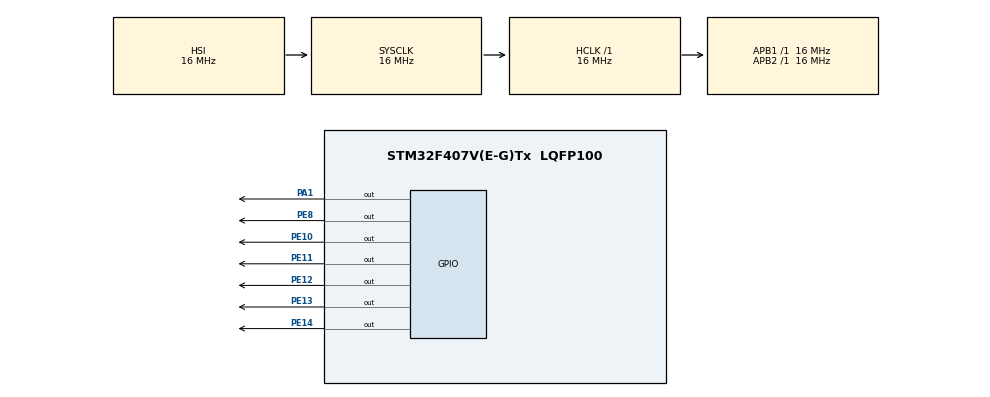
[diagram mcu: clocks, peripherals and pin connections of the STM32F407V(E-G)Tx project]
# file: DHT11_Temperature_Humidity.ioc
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Mcu.Family=STM32F4
Mcu.Name=STM32F407V(E-G)Tx
Mcu.Package=LQFP100
NVIC.PriorityGroup=NVIC_PRIORITYGROUP_4
PA1.Signal=GPIO_Output
PE10.Signal=GPIO_Output
PE11.Signal=GPIO_Output
PE12.Signal=GPIO_Output
PE13.Signal=GPIO_Output
PE14.Signal=GPIO_Output
PE8.Signal=GPIO_Output
ProjectManager.HeapSize=0x200
ProjectManager.StackSize=0x400
ProjectManager.TargetToolchain=STM32CubeIDE
RCC.AHBFreq_Value=16000000
RCC.APB1Freq_Value=16000000
RCC.APB2Freq_Value=16000000
RCC.CortexFreq_Value=16000000
RCC.HSE_VALUE=25000000
RCC.HSI_VALUE=16000000
RCC.LSE_VALUE=32768
RCC.SYSCLKFreq_VALUE=16000000
RCC.VCOOutputFreq_Value=192000000
board=custom

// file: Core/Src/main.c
/* USER CODE BEGIN Header */
/**
  ******************************************************************************
  * @file           : main.c
  * @brief          : Main program body
  ******************************************************************************
  */
/* USER CODE END Header */
#include "main.h"

/* USER CODE BEGIN Includes */
#include "lcd.h"
#include "dht11.h"
/* USER CODE END Includes */

/* USER CODE BEGIN PV */
uint8_t temp, hum;
/* USER CODE END PV */

void SystemClock_Config(void);
static void MX_GPIO_Init(void);

int main(void)
{

  /* MCU Configuration--------------------------------------------------------*/

  /* Reset of all peripherals, Initializes the Flash interface and the Systick. */
  HAL_Init();

  /* Configure the system clock */
  SystemClock_Config();

  /* Initialize all configured peripherals */
  MX_GPIO_Init();

  /* Infinite loop */
  /* USER CODE BEGIN WHILE */
  DHT11_Init(GPIOA, GPIO_PIN_1);
  LCD_Init();
  while (1)
  {
	  if (DHT11_Read(&temp, &hum))
	  {
			  LCD_Clear();
			  LCD_Set_Cursor(0, 0);
			  LCD_Send_String("temp:");
			  LCD_Send_Integer(temp);

			  LCD_Set_Cursor(1, 0);
			  LCD_Send_String("Hum :");
			  LCD_Send_Integer(hum);
	  }
	  else
	  {
			  LCD_Clear();
			  LCD_Set_Cursor(0, 0);
			  LCD_Send_String("Read Failed");
	  }
	          HAL_Delay(2000);
    /* USER CODE END WHILE */

  }
}

void SystemClock_Config(void)
{
  RCC_OscInitTypeDef RCC_OscInitStruct = {0};
  RCC_ClkInitTypeDef RCC_ClkInitStruct = {0};

  /** Configure the main internal regulator output voltage
  */
  __HAL_RCC_PWR_CLK_ENABLE();
  __HAL_PWR_VOLTAGESCALING_CONFIG(PWR_REGULATOR_VOLTAGE_SCALE1);

  /** Initializes the RCC Oscillators according to the specified parameters
  * in the RCC_OscInitTypeDef structure.
  */
  RCC_OscInitStruct.OscillatorType = RCC_OSCILLATORTYPE_HSI;
  RCC_OscInitStruct.HSIState = RCC_HSI_ON;
  RCC_OscInitStruct.HSICalibrationValue = RCC_HSICALIBRATION_DEFAULT;
  RCC_OscInitStruct.PLL.PLLState = RCC_PLL_NONE;
  if (HAL_RCC_OscConfig(&RCC_OscInitStruct) != HAL_OK)
  {
    Error_Handler();
  }

  /** Initializes the CPU, AHB and APB buses clocks
  */
  RCC_ClkInitStruct.ClockType = RCC_CLOCKTYPE_HCLK|RCC_CLOCKTYPE_SYSCLK
                              |RCC_CLOCKTYPE_PCLK1|RCC_CLOCKTYPE_PCLK2;
  RCC_ClkInitStruct.SYSCLKSource = RCC_SYSCLKSOURCE_HSI;
  RCC_ClkInitStruct.AHBCLKDivider = RCC_SYSCLK_DIV1;
  RCC_ClkInitStruct.APB1CLKDivider = RCC_HCLK_DIV1;
  RCC_ClkInitStruct.APB2CLKDivider = RCC_HCLK_DIV1;

  if (HAL_RCC_ClockConfig(&RCC_ClkInitStruct, FLASH_LATENCY_0) != HAL_OK)
  {
    Error_Handler();
  }
}

static void MX_GPIO_Init(void)
{
  GPIO_InitTypeDef GPIO_InitStruct = {0};

  /* GPIO Ports Clock Enable */
  __HAL_RCC_GPIOA_CLK_ENABLE();
  __HAL_RCC_GPIOE_CLK_ENABLE();

  /*Configure GPIO pin Output Level */
  HAL_GPIO_WritePin(GPIOA, GPIO_PIN_1, GPIO_PIN_RESET);

  /*Configure GPIO pin Output Level */
  HAL_GPIO_WritePin(GPIOE, GPIO_PIN_8|GPIO_PIN_10|GPIO_PIN_11|GPIO_PIN_12
                          |GPIO_PIN_13|GPIO_PIN_14, GPIO_PIN_RESET);

  /*Configure GPIO pin : PA1 */
  GPIO_InitStruct.Pin = GPIO_PIN_1;
  GPIO_InitStruct.Mode = GPIO_MODE_OUTPUT_PP;
  GPIO_InitStruct.Pull = GPIO_NOPULL;
  GPIO_InitStruct.Speed = GPIO_SPEED_FREQ_LOW;
  HAL_GPIO_Init(GPIOA, &GPIO_InitStruct);

  /*Configure GPIO pins : PE8 PE10 PE11 PE12
                           PE13 PE14 */
  GPIO_InitStruct.Pin = GPIO_PIN_8|GPIO_PIN_10|GPIO_PIN_11|GPIO_PIN_12
                          |GPIO_PIN_13|GPIO_PIN_14;
  GPIO_InitStruct.Mode = GPIO_MODE_OUTPUT_PP;
  GPIO_InitStruct.Pull = GPIO_NOPULL;
  GPIO_InitStruct.Speed = GPIO_SPEED_FREQ_LOW;
  HAL_GPIO_Init(GPIOE, &GPIO_InitStruct);

}

void Error_Handler(void)
{
  __disable_irq();
  while (1)
  {
  }
}
